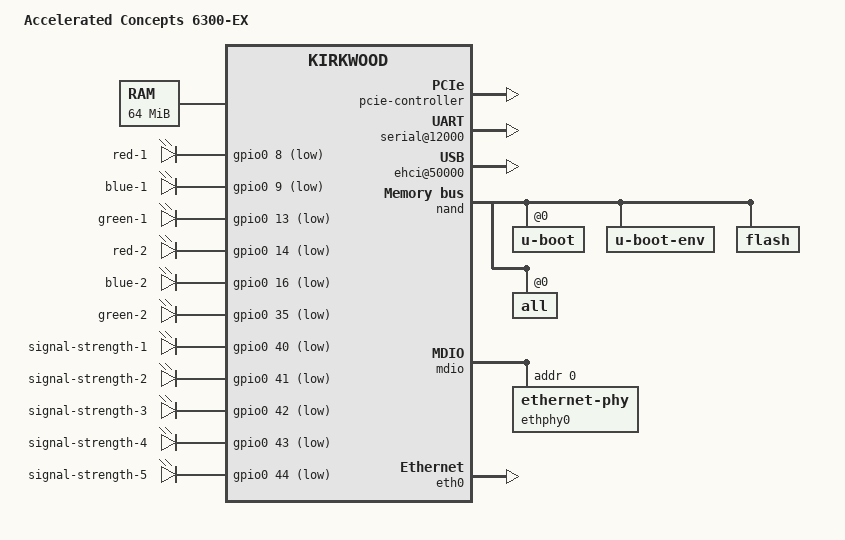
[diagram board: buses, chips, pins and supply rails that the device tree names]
/*
 * Device Tree file for AcceleratedConcepts 6300-EX
 *
 * David McCullough <david.mccullough@accelerated.com>
 * Greg Ungerer <greg.ungerer@accelerated.com>
 *
 * This file is licensed under the terms of the GNU General Public
 * License version 2.  This program is licensed "as is" without any
 * warranty of any kind, whether express or implied.
 */

/dts-v1/;

#include "kirkwood.dtsi"
#include "kirkwood-6281.dtsi"

/ {
	model = "Accelerated Concepts 6300-EX";
	compatible = "accelerated,6300-ex", "marvell,kirkwood";

	memory {
		device_type = "memory";
		reg = <0x00000000 0x4000000>;
	};

	chosen {
		bootargs = "console=ttyS0,115200n8 earlyprintk";
	};

	mbus {
		pcie-controller {
			status = "okay";

			pcie@1,0 {
				status = "okay";
			};
		};
	};

	ocp@f1000000 {
		 pinctrl: pin-controller@10000 {
			pmx_led_red_1: pmx-led-red-1 {
				marvell,pins = "mpp8";
				marvell,function = "gpio";
			};

			pmx_led_blue_1: pmx-led-blue-1 {
				marvell,pins = "mpp9";
				marvell,function = "gpio";
			};

			pmx_led_green_1: pmx-led-green-1 {
				marvell,pins = "mpp13";
				marvell,function = "gpio";
			};

			pmx_led_red_2: pmx-led-red-2 {
				marvell,pins = "mpp14";
				marvell,function = "gpio";
			};

			pmx_led_blue_2: pmx-led-blue-2 {
				marvell,pins = "mpp16";
				marvell,function = "gpio";
			};

			pmx_led_green_2: pmx-led-green-2 {
				marvell,pins = "mpp35";
				marvell,function = "gpio";
			};

			pmx_led_6: pmx-led-6 {
				marvell,pins = "mpp40";
				marvell,function = "gpio";
			};

			pmx_led_7: pmx-led-7 {
				marvell,pins = "mpp41";
				marvell,function = "gpio";
			};

			pmx_led_8: pmx-led-8 {
				marvell,pins = "mpp42";
				marvell,function = "gpio";
			};

			pmx_led_9: pmx-led-9 {
				marvell,pins = "mpp43";
				marvell,function = "gpio";
			};

			pmx_led_10: pmx-led-10 {
				marvell,pins = "mpp44";
				marvell,function = "gpio";
			};

			pmx_watchdog: pmx-watchdog {
				marvell,pins = "mpp36";
				marvell,function = "gpio";
			};

			pmx_cell_disable: pmx-cell-disable {
				marvell,pins = "mpp37";
				marvell,function = "gpio";
			};

			pmx_cell_reset: pmx-cell-reset {
				marvell,pins = "mpp38";
				marvell,function = "gpio";
			};

			pmx_erase: pmx-erase {
				marvell,pins = "mpp39";
				marvell,function = "gpio";
			};

			pmx_sim_detect: pmx-sim-detect {
				marvell,pins = "mpp43";
				marvell,function = "gpio";
			};

			pmx_usb_power: pmx-usb-power {
				marvell,pins = "mpp15";
				marvell,function = "gpio";
			};

			pmx_usb_ovc: pmx-usb-ovc {
				marvell,pins = "mpp17";
				marvell,function = "gpio";
			};
		};

		serial@12000 {
			status = "ok";
		};

		ehci@50000 {
			status = "ok";
		};

		crypto@30000 {
			status = "ok";
		};
	};

	leds {
		compatible = "gpio-leds";
		pinctrl-0 = <
				&pmx_uart0
				&pmx_nand
				&pmx_led_red_1
				&pmx_led_blue_1
				&pmx_led_green_1
				&pmx_led_red_2
				&pmx_led_blue_2
				&pmx_led_green_2
				&pmx_led_6
				&pmx_led_7
				&pmx_led_8
				&pmx_led_9
				&pmx_led_10
				&pmx_watchdog
				&pmx_cell_disable
				&pmx_cell_reset
				&pmx_erase
				&pmx_sim_detect
				&pmx_usb_power
				&pmx_usb_ovc
				>;
		pinctrl-names = "default";

		red_1 {
			label = "red-1";
			gpios = <&gpio0 8 1>;
			default-state = "off";
		};

		blue_1 {
			label = "blue-1";
			gpios = <&gpio0 9 1>;
			default-state = "off";
		};

		green_1 {
			label = "green-1";
			gpios = <&gpio0 13 1>;
			default-state = "off";
		};

		red_2 {
			label = "red-2";
			gpios = <&gpio0 14 1>;
			default-state = "off";
		};

		blue_2 {
			label = "blue-2";
			gpios = <&gpio0 16 1>;
			default-state = "off";
		};

		green_2 {
			label = "green-2";
			gpios = <&gpio0 35 1>;
			default-state = "off";
		};

		signal_strength_1 {
			label = "signal-strength-1";
			gpios = <&gpio0 40 1>;
			default-state = "off";
		};

		signal_strength_2 {
			label = "signal-strength-2";
			gpios = <&gpio0 41 1>;
			default-state = "off";
		};

		signal_strength_3 {
			label = "signal-strength-3";
			gpios = <&gpio0 42 1>;
			default-state = "off";
		};

		signal_strength_4 {
			label = "signal-strength-4";
			gpios = <&gpio0 43 1>;
			default-state = "off";
		};

		signal_strength_5 {
			label = "signal-strength-5";
			gpios = <&gpio0 44 1>;
			default-state = "off";
		};
	};
};

&nand {
	status = "okay";

	u-boot@0 {
		label = "u-boot";
		reg = <0x0 0x200000>;
	};

	u-boot-env@200000 {
		label = "u-boot-env";
		reg = <0x200000 0x100000>;
	};

	flash@400000 {
		label = "flash";
		reg = <0x300000 0x0>;
	};

	all@0 {
		label = "all";
		reg = <0x0 0x0>;
	};
};

&mdio {
	status = "okay";
	ethphy0: ethernet-phy@0 {
		reg = <0>;
	};
};

&eth0 {
	status = "okay";
	ethernet0-port@0 {
		phy-handle = <&ethphy0>;
	};
};

